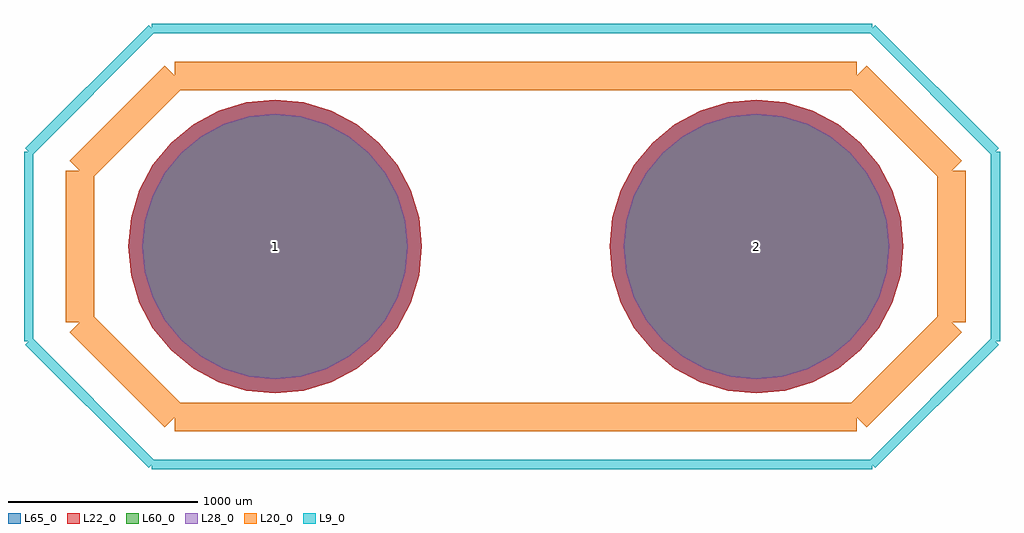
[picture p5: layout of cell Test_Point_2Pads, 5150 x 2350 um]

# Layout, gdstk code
import gdstk
lib = gdstk.Library(unit=1e-6, precision=1e-09)
def P(c, l, *ps):  # polygons
    for p in ps: c.add(gdstk.Polygon(p, *l))
L9_0 = (9, 0)
L20_0 = (20, 0)
L22_0 = (22, 0)
L28_0 = (28, 0)
L60_0 = (60, 0)
L65_0 = (65, 0)

test_point_2pads = lib.new_cell('Test_Point_2Pads')
P(test_point_2pads, L22_0, [(3315,0),(3300.109,151.195),(3256.007,296.58),(3184.389,430.567),(3088.008,548.008),(2970.567,644.389),(2836.58,716.007),(2691.195,760.109),(2540,775),(2388.805,760.109),(2243.42,716.007),(2109.433,644.389),(1991.992,548.008),(1895.611,430.567),(1823.993,296.58),(1779.891,151.195),(1765,0),(1779.891,-151.195),(1823.993,-296.58),(1895.611,-430.567),(1991.992,-548.008),(2109.433,-644.389),(2243.42,-716.007),(2388.805,-760.109),(2540,-775),(2691.195,-760.109),(2836.58,-716.007),(2970.567,-644.389),(3088.008,-548.008),(3184.389,-430.567),(3256.007,-296.58),(3300.109,-151.195)],
  [(775,0),(760.109,151.195),(716.007,296.58),(644.389,430.567),(548.008,548.008),(430.567,644.389),(296.58,716.007),(151.195,760.109),(0,775),(-151.195,760.109),(-296.58,716.007),(-430.567,644.389),(-548.008,548.008),(-644.389,430.567),(-716.007,296.58),(-760.109,151.195),(-775,0),(-760.109,-151.195),(-716.007,-296.58),(-644.389,-430.567),(-548.008,-548.008),(-430.567,-644.389),(-296.58,-716.007),(-151.195,-760.109),(0,-775),(151.195,-760.109),(296.58,-716.007),(430.567,-644.389),(548.008,-548.008),(644.389,-430.567),(716.007,-296.58),(760.109,-151.195)])
P(test_point_2pads, L28_0, [(3240,0),(3226.55,136.563),(3186.716,267.878),(3122.029,388.899),(3034.975,494.975),(2928.899,582.029),(2807.878,646.716),(2676.563,686.55),(2540,700),(2403.437,686.55),(2272.122,646.716),(2151.101,582.029),(2045.025,494.975),(1957.971,388.899),(1893.284,267.878),(1853.45,136.563),(1840,0),(1853.45,-136.563),(1893.284,-267.878),(1957.971,-388.899),(2045.025,-494.975),(2151.101,-582.029),(2272.122,-646.716),(2403.437,-686.55),(2540,-700),(2676.563,-686.55),(2807.878,-646.716),(2928.899,-582.029),(3034.975,-494.975),(3122.029,-388.899),(3186.716,-267.878),(3226.55,-136.563)],
  [(700,0),(686.55,136.563),(646.716,267.878),(582.029,388.899),(494.975,494.975),(388.899,582.029),(267.878,646.716),(136.563,686.55),(0,700),(-136.563,686.55),(-267.878,646.716),(-388.899,582.029),(-494.975,494.975),(-582.029,388.899),(-646.716,267.878),(-686.55,136.563),(-700,0),(-686.55,-136.563),(-646.716,-267.878),(-582.029,-388.899),(-494.975,-494.975),(-388.899,-582.029),(-267.878,-646.716),(-136.563,-686.55),(0,-700),(136.563,-686.55),(267.878,-646.716),(388.899,-582.029),(494.975,-494.975),(582.029,-388.899),(646.716,-267.878),(686.55,-136.563)])
P(test_point_2pads, L60_0, [(3240,0),(3226.55,136.563),(3186.716,267.878),(3122.029,388.899),(3034.975,494.975),(2928.899,582.029),(2807.878,646.716),(2676.563,686.55),(2540,700),(2403.437,686.55),(2272.122,646.716),(2151.101,582.029),(2045.025,494.975),(1957.971,388.899),(1893.284,267.878),(1853.45,136.563),(1840,0),(1853.45,-136.563),(1893.284,-267.878),(1957.971,-388.899),(2045.025,-494.975),(2151.101,-582.029),(2272.122,-646.716),(2403.437,-686.55),(2540,-700),(2676.563,-686.55),(2807.878,-646.716),(2928.899,-582.029),(3034.975,-494.975),(3122.029,-388.899),(3186.716,-267.878),(3226.55,-136.563)],
  [(700,0),(686.55,136.563),(646.716,267.878),(582.029,388.899),(494.975,494.975),(388.899,582.029),(267.878,646.716),(136.563,686.55),(0,700),(-136.563,686.55),(-267.878,646.716),(-388.899,582.029),(-494.975,494.975),(-582.029,388.899),(-646.716,267.878),(-686.55,136.563),(-700,0),(-686.55,-136.563),(-646.716,-267.878),(-582.029,-388.899),(-494.975,-494.975),(-388.899,-582.029),(-267.878,-646.716),(-136.563,-686.55),(0,-700),(136.563,-686.55),(267.878,-646.716),(388.899,-582.029),(494.975,-494.975),(582.029,-388.899),(646.716,-267.878),(686.55,-136.563)])
P(test_point_2pads, L65_0, [(3315,0),(3300.109,151.195),(3256.007,296.58),(3184.389,430.567),(3088.008,548.008),(2970.567,644.389),(2836.58,716.007),(2691.195,760.109),(2540,775),(2388.805,760.109),(2243.42,716.007),(2109.433,644.389),(1991.992,548.008),(1895.611,430.567),(1823.993,296.58),(1779.891,151.195),(1765,0),(1779.891,-151.195),(1823.993,-296.58),(1895.611,-430.567),(1991.992,-548.008),(2109.433,-644.389),(2243.42,-716.007),(2388.805,-760.109),(2540,-775),(2691.195,-760.109),(2836.58,-716.007),(2970.567,-644.389),(3088.008,-548.008),(3184.389,-430.567),(3256.007,-296.58),(3300.109,-151.195)],
  [(775,0),(760.109,151.195),(716.007,296.58),(644.389,430.567),(548.008,548.008),(430.567,644.389),(296.58,716.007),(151.195,760.109),(0,775),(-151.195,760.109),(-296.58,716.007),(-430.567,644.389),(-548.008,548.008),(-644.389,430.567),(-716.007,296.58),(-760.109,151.195),(-775,0),(-760.109,-151.195),(-716.007,-296.58),(-644.389,-430.567),(-548.008,-548.008),(-430.567,-644.389),(-296.58,-716.007),(-151.195,-760.109),(0,-775),(151.195,-760.109),(296.58,-716.007),(430.567,-644.389),(548.008,-548.008),(644.389,-430.567),(716.007,-296.58),(760.109,-151.195)])
test_point_2pads.add(gdstk.FlexPath([(-1030,400),(-530,900)], 149.998, ends="flush", simple_path=True, layer=20, datatype=0))  # L20_0
test_point_2pads.add(gdstk.FlexPath([(-1030,-400),(-1030,400)], 149.998, ends="flush", simple_path=True, layer=20, datatype=0))  # L20_0
test_point_2pads.add(gdstk.FlexPath([(-530,-900),(-1030,-400)], 149.998, ends="flush", simple_path=True, layer=20, datatype=0))  # L20_0
test_point_2pads.add(gdstk.FlexPath([(3070,-900),(-530,-900)], 149.998, ends="flush", simple_path=True, layer=20, datatype=0))  # L20_0
test_point_2pads.add(gdstk.FlexPath([(3570,-400),(3070,-900)], 149.998, ends="flush", simple_path=True, layer=20, datatype=0))  # L20_0
test_point_2pads.add(gdstk.FlexPath([(3570,400),(3570,-400)], 149.998, ends="flush", simple_path=True, layer=20, datatype=0))  # L20_0
test_point_2pads.add(gdstk.FlexPath([(3070,900),(3570,400)], 149.998, ends="flush", simple_path=True, layer=20, datatype=0))  # L20_0
test_point_2pads.add(gdstk.FlexPath([(-530,900),(3070,900)], 149.998, ends="flush", simple_path=True, layer=20, datatype=0))  # L20_0
test_point_2pads.add(gdstk.FlexPath([(-1300,-500),(-650,-1150)], 50, ends="flush", simple_path=True, layer=9, datatype=0))  # L9_0
test_point_2pads.add(gdstk.FlexPath([(-1300,500),(-1300,-500)], 50, ends="flush", simple_path=True, layer=9, datatype=0))  # L9_0
test_point_2pads.add(gdstk.FlexPath([(-650,1150),(-1300,500)], 50, ends="flush", simple_path=True, layer=9, datatype=0))  # L9_0
test_point_2pads.add(gdstk.FlexPath([(3150,1150),(-650,1150)], 50, ends="flush", simple_path=True, layer=9, datatype=0))  # L9_0
test_point_2pads.add(gdstk.FlexPath([(3800,500),(3150,1150)], 50, ends="flush", simple_path=True, layer=9, datatype=0))  # L9_0
test_point_2pads.add(gdstk.FlexPath([(3800,-500),(3800,500)], 50, ends="flush", simple_path=True, layer=9, datatype=0))  # L9_0
test_point_2pads.add(gdstk.FlexPath([(3150,-1150),(3800,-500)], 50, ends="flush", simple_path=True, layer=9, datatype=0))  # L9_0
test_point_2pads.add(gdstk.FlexPath([(-650,-1150),(3150,-1150)], 50, ends="flush", simple_path=True, layer=9, datatype=0))  # L9_0
test_point_2pads.add(gdstk.Label('2', (2540,0), layer=28, texttype=0))
test_point_2pads.add(gdstk.Label('1', (0,0), layer=28, texttype=0))
test_point_2pads.add(gdstk.Label('type', (1270,-2000), layer=9, texttype=0))
test_point_2pads.add(gdstk.Label('devicename', (1270,2000), layer=9, texttype=0))

lib.write_gds('Test_Point_2Pads.gds')
